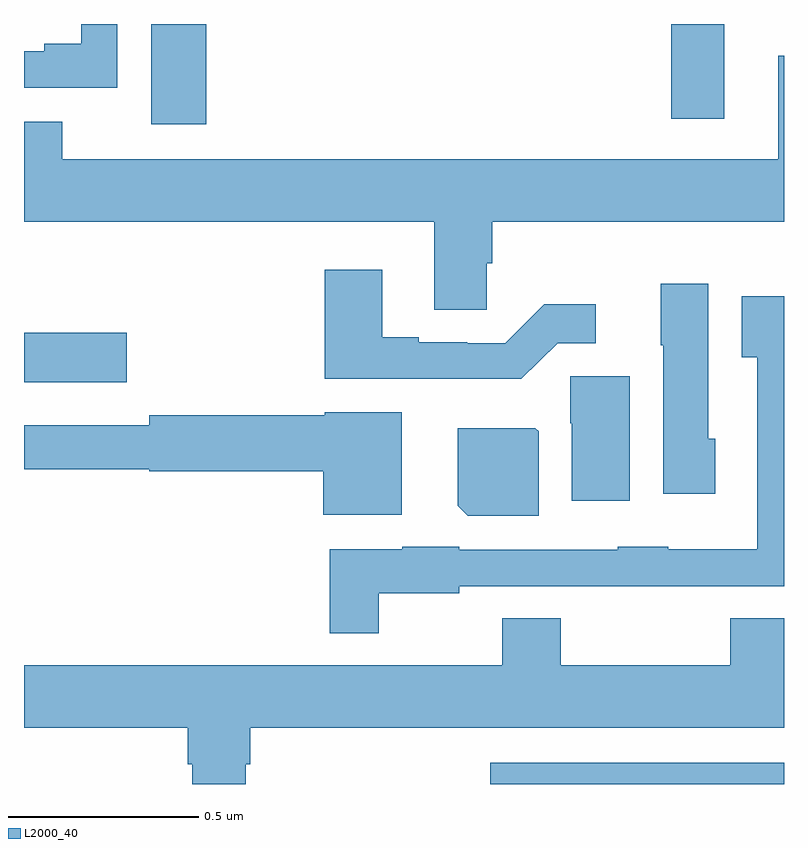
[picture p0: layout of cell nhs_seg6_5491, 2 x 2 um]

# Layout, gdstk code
import gdstk
lib = gdstk.Library(unit=1e-6, precision=1e-09)
def R(c, l, rs):  # rectangles x0, y0, x1, y1
    for r in rs: c.add(gdstk.rectangle(r[:2], r[2:], *l))
def P(c, l, *ps):  # polygons
    for p in ps: c.add(gdstk.Polygon(p, *l))
L2000_40 = (2000, 40)

nhs_seg6_5491 = lib.new_cell('nhs_seg6_5491')
R(nhs_seg6_5491, L2000_40, [(184.227,968.5,185,968.556), (183,969.557,183.271,969.687), (183.335,970.236,183.479,970.5), (184.703,970.251,184.843,970.5)])
P(nhs_seg6_5491, L2000_40, [(183.246,970.5),(183.15,970.5),(183.15,970.448),(183.053,970.448),(183.053,970.428),(183,970.428),(183,970.332),(183.246,970.332)],
  [(183.1,970.243),(183,970.243),(183,969.98),(184.079,969.98),(184.079,969.748),(184.218,969.748),(184.218,969.87),(184.232,969.87),(184.232,969.98),(185,969.98),(185,970.417),(184.985,970.417),(184.985,970.144),(183.1,970.144)],
  [(184.404,969.66),(184.504,969.66),(184.504,969.763),(184.369,969.763),(184.266,969.66),(184.166,969.66),(184.166,969.663),(184.039,969.663),(184.039,969.676),(183.943,969.676),(183.943,969.853),(183.791,969.853),(183.791,969.566),(184.309,969.566)],
  [(184.819,969.408),(184.801,969.408),(184.801,969.817),(184.676,969.817),(184.676,969.654),(184.682,969.654),(184.682,969.264),(184.819,969.264)],
  [(183.934,969.002),(184.146,969.002),(184.146,969.021),(184.563,969.021),(184.563,969.02),(184.795,969.02),(184.795,969.021),(185,969.021),(185,969.784),(184.889,969.784),(184.889,969.623),(184.929,969.623),(184.929,969.118),(184.695,969.118),(184.695,969.124),(184.563,969.124),(184.563,969.117),(184.146,969.117),(184.146,969.124),(183.996,969.124),(183.996,969.118),(183.805,969.118),(183.805,968.897),(183.934,968.897)],
  [(184.594,969.573),(184.438,969.573),(184.438,969.45),(184.442,969.45),(184.442,969.246),(184.594,969.246)],
  [(183.994,969.478),(183.792,969.478),(183.792,969.47),(183.33,969.47),(183.33,969.444),(183,969.444),(183,969.328),(183.33,969.328),(183.33,969.323),(183.788,969.323),(183.788,969.209),(183.994,969.209)],
  [(184.354,969.428),(184.346,969.436),(184.142,969.436),(184.142,969.232),(184.168,969.206),(184.354,969.206)],
  [(183.583,968.552),(183.596,968.552),(183.596,968.648),(185,968.648),(185,968.936),(184.858,968.936),(184.858,968.812),(184.413,968.812),(184.413,968.936),(184.258,968.936),(184.258,968.812),(183,968.812),(183,968.648),(183.431,968.648),(183.431,968.552),(183.443,968.552),(183.443,968.5),(183.583,968.5)])

lib.write_gds('nhs_seg6_5491.gds')
